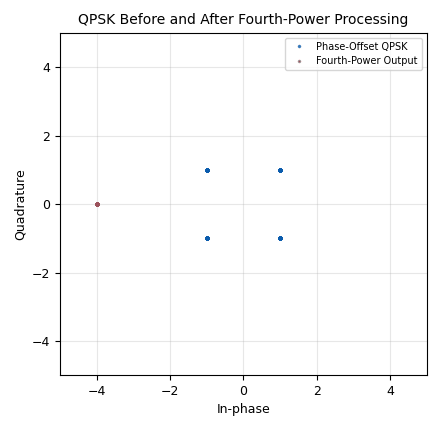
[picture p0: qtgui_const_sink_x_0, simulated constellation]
options:
  parameters:
    generate_options: qt_gui
    id: exp3
    output_language: python
    title: M-th Power Phase Recovery
  states: {}

blocks:
- name: phase_offset
  id: variable_qtgui_range
  parameters:
    label: Carrier Phase Offset (deg)
    start: '-180'
    step: '5'
    stop: '180'
    value: '0'
  states: {}
- name: samp_rate
  id: variable
  parameters:
    value: '32000'
  states: {}
- name: analog_random_source_x_0
  id: analog_random_source_x
  parameters:
    max: '2'
    min: '0'
    num_samps: '1000'
    repeat: 'True'
    type: byte
  states: {}
- name: analog_random_source_x_0_0
  id: analog_random_source_x
  parameters:
    max: '2'
    min: '0'
    num_samps: '1000'
    repeat: 'True'
    type: byte
  states: {}
- name: blocks_complex_to_arg_0
  id: blocks_complex_to_arg
  parameters: {}
  states: {}
- name: blocks_exponentiate_const_cci_0
  id: blocks_exponentiate_const_cci
  parameters:
    exponent: '4'
  states: {}
- name: blocks_float_to_complex_0
  id: blocks_float_to_complex
  parameters: {}
  states: {}
- name: blocks_multiply_const_vxx_0
  id: blocks_multiply_const_vxx
  parameters:
    const: math.cos(math.radians(phase_offset)) + 1j*math.sin(math.radians(phase_offset))
    type: complex
  states: {}
- name: blocks_multiply_const_vxx_1
  id: blocks_multiply_const_vxx
  parameters:
    const: 180/(4*math.pi)
    type: float
  states: {}
- name: blocks_multiply_const_vxx_2
  id: blocks_multiply_const_vxx
  parameters:
    const: '-1'
    type: complex
  states: {}
- name: blocks_throttle2_0
  id: blocks_throttle2
  parameters:
    samples_per_second: samp_rate
    type: complex
  states: {}
- name: digital_chunks_to_symbols_xx_0
  id: digital_chunks_to_symbols_xx
  parameters:
    dimension: '1'
    in_type: byte
    out_type: float
    symbol_table: '[-1,1]'
  states: {}
- name: digital_chunks_to_symbols_xx_0_0
  id: digital_chunks_to_symbols_xx
  parameters:
    dimension: '1'
    in_type: byte
    out_type: float
    symbol_table: '[-1,1]'
  states: {}
- name: import_0
  id: import
  parameters:
    imports: import math
  states: {}
- name: qtgui_const_sink_x_0
  id: qtgui_const_sink_x
  parameters:
    grid: 'True'
    label1: Phase-Offset QPSK
    label2: Fourth-Power Output
    name: QPSK Before and After Fourth-Power Processing
    nconnections: '2'
    size: '1024'
    type: complex
    width1: '5'
    width2: '5'
    xmax: '5'
    xmin: '-5'
    ymax: '5'
    ymin: '-5'
  states: {}
- name: qtgui_number_sink_0
  id: qtgui_number_sink
  parameters:
    graph_type: qtgui.NUM_GRAPH_HORIZ
    label1: Phase Difference (deg)
    max: '180'
    min: '-180'
    name: Estimated Carrier Phase Offset
    type: float
  states: {}

connections:
- [analog_random_source_x_0, '0', digital_chunks_to_symbols_xx_0, '0']
- [analog_random_source_x_0_0, '0', digital_chunks_to_symbols_xx_0_0, '0']
- [blocks_complex_to_arg_0, '0', blocks_multiply_const_vxx_1, '0']
- [blocks_exponentiate_const_cci_0, '0', blocks_multiply_const_vxx_2, '0']
- [blocks_exponentiate_const_cci_0, '0', qtgui_const_sink_x_0, '1']
- [blocks_float_to_complex_0, '0', blocks_throttle2_0, '0']
- [blocks_multiply_const_vxx_0, '0', blocks_exponentiate_const_cci_0, '0']
- [blocks_multiply_const_vxx_0, '0', qtgui_const_sink_x_0, '0']
- [blocks_multiply_const_vxx_1, '0', qtgui_number_sink_0, '0']
- [blocks_multiply_const_vxx_2, '0', blocks_complex_to_arg_0, '0']
- [blocks_throttle2_0, '0', blocks_multiply_const_vxx_0, '0']
- [digital_chunks_to_symbols_xx_0, '0', blocks_float_to_complex_0, '0']
- [digital_chunks_to_symbols_xx_0_0, '0', blocks_float_to_complex_0, '1']

metadata:
  file_format: 1
  grc_version: 3.10.12.0
